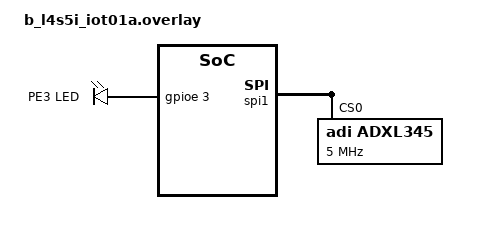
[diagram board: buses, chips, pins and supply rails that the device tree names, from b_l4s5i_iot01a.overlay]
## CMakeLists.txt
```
cmake_minimum_required(VERSION 3.20.0)

find_package(Zephyr REQUIRED HINTS $ENV{ZEPHYR_BASE})
project(app_test_3)

target_sources(app PRIVATE src/main.c)
```

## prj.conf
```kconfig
CONFIG_GPIO=y
CONFIG_SPI=y        #SPI相關
CONFIG_SENSOR=y     #sensor相關
#CONFIG_ADXL345=y   #spi無須添加
CONFIG_LED=y
CONFIG_PRINTK=y
CONFIG_STDOUT_CONSOLE=y
CONFIG_MULTITHREADING=y     #多執行續相關
CONFIG_CBPRINTF_FP_SUPPORT=y
```

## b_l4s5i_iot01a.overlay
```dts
/ {
	/* 統一寫在一個 aliases 區塊 */
	aliases {
		led0 = &green_led_2; /* 對應開發板原本的綠燈 */
		led1 = &pe3_led;     /* 對應你新增的 PE3 LED */
	};

	leds {
		compatible = "gpio-leds";
		pe3_led: pe3_led {
			gpios = <&gpioe 3 GPIO_ACTIVE_HIGH>;
			label = "PE3 LED";
		}; 
	};
};

/*spi腳位設定*/

&spi1 {
	status = "okay";

	adxl345: adxl345@0 {
		compatible = "adi,adxl345";
		reg = <0>; /* 對應 cs-gpios 的第 0 個索引 */
		spi-max-frequency = <5000000>; /* 修正報錯：必須設定頻率 (5 MHz) */
		
	};
};
```

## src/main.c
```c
#include <zephyr/kernel.h>
#include <zephyr/device.h>
#include <zephyr/drivers/sensor.h>
#include <zephyr/drivers/gpio.h>
#include <zephyr/sys/printk.h>
#include <stdlib.h>

/*功能:兩個執行續輪流每秒感測器讀取一組數值並輸出，同時切換兩顆LED燈。重點:gpio(2-LED)、sensor、multithread、mutex、spi(4條線:SCK->SCL、MOSI->SDA、MISO->SDO、CS->CS)*/

#define STACK_SIZE      1024
#define THREAD_PRIORITY 5
#define TOTAL_SAMPLES   10
#define OBSERVE_MS      1000    //幾秒讀一次值

/* 感測器 */
#define ADXL345_NODE DT_NODELABEL(adxl345)

/* 兩顆 LED */
#define LED1_NODE DT_ALIAS(led0)
#define LED2_NODE DT_ALIAS(led1)

/* 建立 mutex */
K_MUTEX_DEFINE(sensor_mutex);

/* 建立兩個 thread stack 與控制塊 */
K_THREAD_STACK_DEFINE(thread1_stack, STACK_SIZE);
K_THREAD_STACK_DEFINE(thread2_stack, STACK_SIZE);
static struct k_thread thread1_data;
static struct k_thread thread2_data;

/* 裝置 */
static const struct device *dev = DEVICE_DT_GET(ADXL345_NODE);
static const struct gpio_dt_spec led1 = GPIO_DT_SPEC_GET(LED1_NODE, gpios);
static const struct gpio_dt_spec led2 = GPIO_DT_SPEC_GET(LED2_NODE, gpios);

/* 共用統計資料 */
static int sample_count = 0;
static int64_t sum_x = 0;
static int64_t sum_y = 0;
static int64_t sum_z = 0;
static bool finished = false;

/* 把 sensor_value 轉成「微單位」整數，避免用浮點 printf */
static int64_t sensor_value_to_micro_int(const struct sensor_value *val)
{
    return ((int64_t)val->val1 * 1000000LL) + val->val2;
}

/* 印出微單位數值，例如 1234567 -> 1.234567 */
static void print_micro_value(const char *name, int64_t value)
{
    int64_t int_part = value / 1000000LL;
    int64_t frac_part = llabs(value % 1000000LL);

    printk("%s: %lld.%06lld", name, int_part, frac_part);
}


/*感測器讀取數值(使用mutex)，並切換LED*/
void sensor_thread(void *p1, void *p2, void *p3)
{
    const struct gpio_dt_spec *led = (const struct gpio_dt_spec *)p1;
    const char *thread_name = (const char *)p2;
    ARG_UNUSED(p3);

    struct sensor_value acc[3];

    while (1) {
        k_mutex_lock(&sensor_mutex, K_FOREVER);

        if (finished) {
            k_mutex_unlock(&sensor_mutex);
            break;
        }

        /* 每1秒讀一次*/
        printk("[%s] observation delay 1 second...\n", thread_name);
        k_msleep(OBSERVE_MS);

        if (sensor_sample_fetch(dev) < 0) {
            printk("[%s] samples receive failed\n", thread_name);
            k_mutex_unlock(&sensor_mutex);
            k_msleep(100);
            continue;
        }

        if (sensor_channel_get(dev, SENSOR_CHAN_ACCEL_XYZ, acc) < 0) {
            printk("[%s] read XYZ failed\n", thread_name);
            k_mutex_unlock(&sensor_mutex);
            k_msleep(100);
            continue;
        }

        int64_t x = sensor_value_to_micro_int(&acc[0]);
        int64_t y = sensor_value_to_micro_int(&acc[1]);
        int64_t z = sensor_value_to_micro_int(&acc[2]);

        sample_count++;
        sum_x += x;
        sum_y += y;
        sum_z += z;

        printk("[%s] Sample %d -> ", thread_name, sample_count);
        print_micro_value("X", x);
        printk(", ");
        print_micro_value("Y", y);
        printk(", ");
        print_micro_value("Z", z);
        printk(" (m/s^2)\n");

        /* 讀完數值後切換 LED */
        gpio_pin_toggle_dt(led);

        if (sample_count >= TOTAL_SAMPLES) {
            int64_t avg_x = sum_x / TOTAL_SAMPLES;
            int64_t avg_y = sum_y / TOTAL_SAMPLES;
            int64_t avg_z = sum_z / TOTAL_SAMPLES;

            printk("\n===== Final Average (%d samples) =====\n", TOTAL_SAMPLES);
            print_micro_value("AVG X", avg_x);
            printk(" (m/s^2)\n");
            print_micro_value("AVG Y", avg_y);
            printk(" (m/s^2)\n");
            print_micro_value("AVG Z", avg_z);
            printk(" (m/s^2)\n");
            printk("======================================\n");

            finished = true;
        }

        k_mutex_unlock(&sensor_mutex);

        k_msleep(100);
    }

    printk("[%s] thread finished\n", thread_name);
}

void main(void)
{
    printk("ADXL345 two thread mutex start testing...\n");

    if (!device_is_ready(dev)) {
        printk("ADXL345 error!\n");
        return;
    }

    if (!gpio_is_ready_dt(&led1)) {
        printk("LED0 error!\n");
        return;
    }

    if (!gpio_is_ready_dt(&led2)) {
        printk("LED1 error!\n");
        return;
    }

    if (gpio_pin_configure_dt(&led1, GPIO_OUTPUT_INACTIVE) < 0) {
        printk("LED0 setting failed!\n");
        return;
    }

    if (gpio_pin_configure_dt(&led2, GPIO_OUTPUT_INACTIVE) < 0) {
        printk("LED1 setting failed!\n");
        return;
    }

    k_thread_create(&thread1_data, thread1_stack, STACK_SIZE,
                    sensor_thread,
                    (void *)&led1, (void *)"Thread-1", NULL,
                    THREAD_PRIORITY, 0, K_NO_WAIT);

    k_thread_create(&thread2_data, thread2_stack, STACK_SIZE,
                    sensor_thread,
                    (void *)&led2, (void *)"Thread-2", NULL,
                    THREAD_PRIORITY, 0, K_NO_WAIT);
}
```
